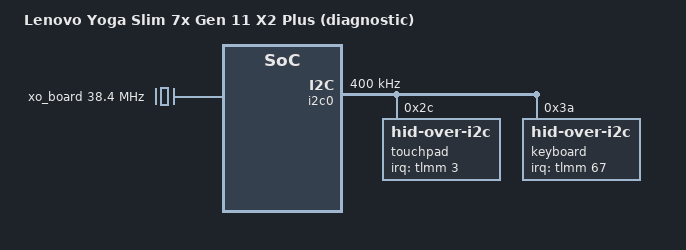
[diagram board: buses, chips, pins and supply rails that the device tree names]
// SPDX-License-Identifier: BSD-3-Clause
/*
 * k1 = e1 (diag + gpio-reserved-ranges validado no hardware) + teclado e
 * touchpad internos via I2C-HID. Sem reguladores, sem PMIC, sem USB/display.
 * DSDT = local/iso-build/acpi/acpi-registry-0000.dsl
 */
/dts-v1/;

#include "kalambo.dtsi"

/ {
	model = "Lenovo Yoga Slim 7x Gen 11 X2 Plus (diagnostic)";
	compatible = "lenovo,yoga-slim7x-gen11-x2plus-diag", "qcom,kalambo";

	aliases {
		serial0 = &uart21;
	};

	chosen {
		stdout-path = "serial0:115200n8";
	};

	clocks {
		xo_board: xo-board {
			compatible = "fixed-clock";
			clock-frequency = <38400000>;
			#clock-cells = <0>;
		};

		sleep_clk: sleep-clk {
			compatible = "fixed-clock";
			clock-frequency = <32000>;
			#clock-cells = <0>;
		};
	};
};

/* ACPI \_SB.I2C1 = QUP_0_SE_0 @ 0x00B80000 (DSDT:71829-71853); 400 kHz (DSDT:94411, 94519) */
&i2c0 {
	clock-frequency = <400000>;

	status = "okay";

	/*
	 * ACPI TCPA ELAN06FA (DSDT:94504-94553). GpioInt Level/ActiveLow/PullUp,
	 * pino virtual 0x380 -> CIPR {0x73, 0x03, 0x0292} (DSDT:79030-79034)
	 * = PDC 115 / TLMM gpio3; pinctrl-glymur.c:1730 {3, 115}.
	 */
	touchpad@2c {
		compatible = "hid-over-i2c";
		reg = <0x2c>;

		hid-descr-addr = <0x20>;
		interrupts-extended = <&tlmm 3 IRQ_TYPE_LEVEL_LOW>;

		pinctrl-0 = <&tpad_default>;
		pinctrl-names = "default";
	};

	/*
	 * ACPI ECKB QTEC0001 (DSDT:94396-94463). GpioInt Edge/ActiveLow/PullUp,
	 * pino virtual 0x2C0 -> CIPR {0x84, 0x43, 0x02EF} (DSDT:78912-78916)
	 * = PDC 132 / TLMM gpio67; pinctrl-glymur.c:1736 {67, 132}.
	 *
	 * Divergencia: glymur-lenovo-yoga-slim7x.dts:445 usa IRQ_TYPE_LEVEL_LOW;
	 * aqui vale o DSDT desta maquina (Edge). Se o teclado der probe mas nao
	 * gerar eventos, trocar para IRQ_TYPE_LEVEL_LOW e o primeiro ajuste.
	 */
	keyboard@3a {
		compatible = "hid-over-i2c";
		reg = <0x3a>;

		hid-descr-addr = <0x1>;
		interrupts-extended = <&tlmm 67 IRQ_TYPE_EDGE_FALLING>;

		pinctrl-0 = <&kybd_default>;
		pinctrl-names = "default";
	};
};

&tlmm {
	/* Validado no hardware (kalambo-e1.dtb); sem isso o probe do TLMM trava */
	gpio-reserved-ranges = <4 4>, <10 2>, <27 1>, <44 4>, <65 1>, <90 2>, <139 1>;

	/*
	 * Entradas apenas. Divergencia: a referencia (glymur-lenovo-yoga-slim7x.dts
	 * :747-751, :781-785) usa bias-disable; o DSDT declara PullUp nos dois
	 * GpioInt (DSDT:94415, 94523), e vale o DSDT.
	 */
	tpad_default: tpad-default-state {
		pins = "gpio3";
		function = "gpio";
		bias-pull-up;
	};

	kybd_default: kybd-default-state {
		pins = "gpio67";
		function = "gpio";
		bias-pull-up;
	};
};
